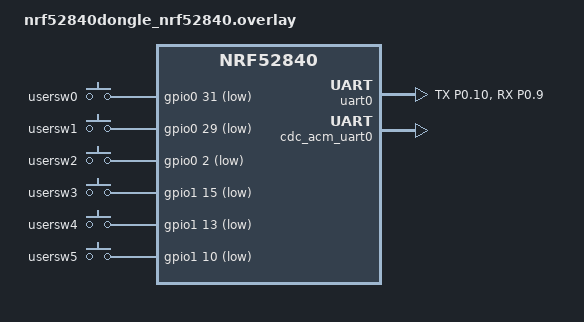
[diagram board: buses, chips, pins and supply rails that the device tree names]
/*
 * Copyright (c) 2020 Nordic Semiconductor ASA
 *
 * SPDX-License-Identifier: LicenseRef-Nordic-5-Clause
 */

/ {
	chosen {
		zephyr,entropy = &rng;
		ncs,zboss-trace-uart = &cdc_acm_uart0;
	};

	usersw {
		compatible = "gpio-keys";

		usersw0: usersw_0 {
			gpios = <&gpio0 31 (GPIO_PULL_UP | GPIO_ACTIVE_LOW)>;
			label = "usersw0";
		};

		usersw1: usersw_1 {
			gpios = <&gpio0 29 (GPIO_PULL_UP | GPIO_ACTIVE_LOW)>;
			label = "usersw1";
		};

		usersw2: usersw_2 {
			gpios = <&gpio0 2  (GPIO_PULL_UP | GPIO_ACTIVE_LOW)>;
			label = "usersw2";
		};

		usersw3: usersw_3 {
			gpios = <&gpio1 15 (GPIO_PULL_UP | GPIO_ACTIVE_LOW)>;
			label = "usersw3";
		};

		usersw4: usersw_4 {
			gpios = <&gpio1 13 (GPIO_PULL_UP | GPIO_ACTIVE_LOW)>;
			label = "usersw4";
		};

		usersw5: usersw_5 {
			gpios = <&gpio1 10 (GPIO_PULL_UP | GPIO_ACTIVE_LOW)>;
			label = "usersw5";
		};
	};
};

&uart0 {
	pinctrl-0 = <&uart0_default>;
	pinctrl-1 = <&uart0_sleep>;
	pinctrl-names = "default", "sleep";
};

&pinctrl {
	uart0_default: uart0_default {
		group1 {
			psels = <NRF_PSEL(UART_TX, 0, 10)>;
		};
		group2 {
			psels = <NRF_PSEL(UART_RX, 0, 9)>;
			bias-pull-up;
		};
	};

	uart0_sleep: uart0_sleep {
		group1 {
			psels = <NRF_PSEL(UART_TX, 0, 10)>;
		};
		group2 {
			psels = <NRF_PSEL(UART_RX, 0, 9)>;
			bias-pull-up;
		};
	};
};

&zephyr_udc0 {
	cdc_acm_uart0: cdc_acm_uart0 {
		compatible = "zephyr,cdc-acm-uart";
		label = "CDC_ACM_0";
	};
};
